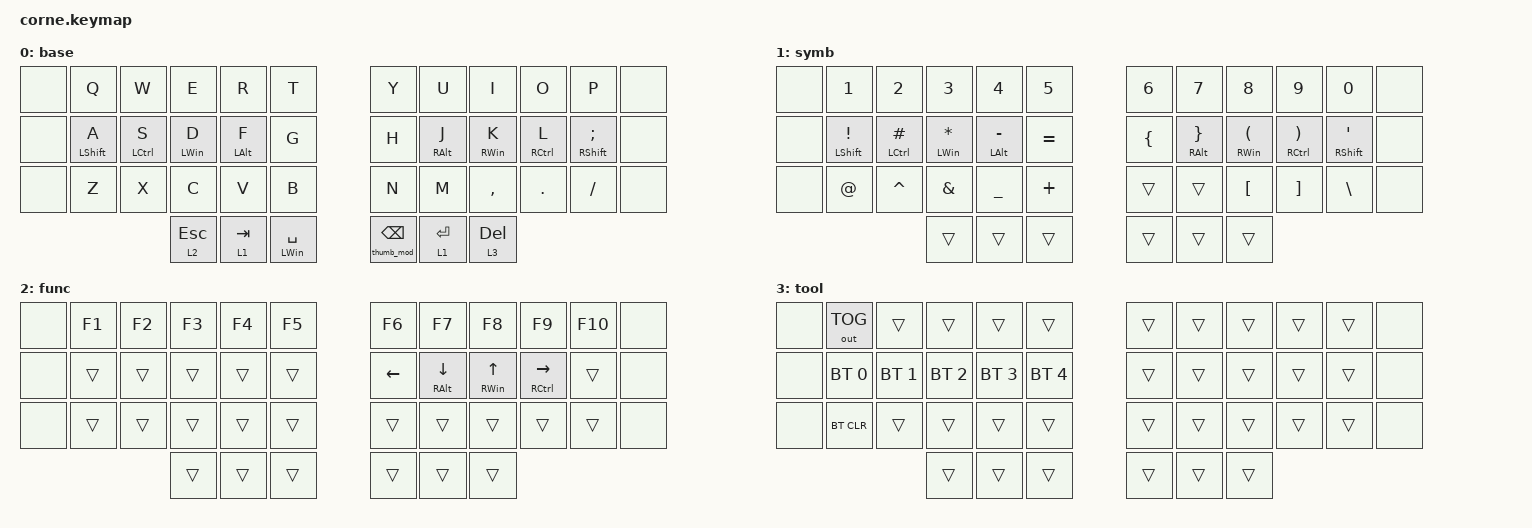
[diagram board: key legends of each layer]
/*
 * Copyright (c) 2020 The ZMK Contributors
 *
 * SPDX-License-Identifier: MIT
 */

#include <behaviors.dtsi>
#include <dt-bindings/zmk/bt.h>
#include <dt-bindings/zmk/keys.h>
#include <dt-bindings/zmk/keys.h>
#include <dt-bindings/zmk/outputs.h>

/ {
    combos {
        compatible = "zmk,combos";

        quick_lead {
            bindings = <&kp LC(SPACE)>;
            key-positions = <37 40>;
        };

        caps_lock {
            bindings = <&kt CAPSLOCK>;
            key-positions = <13 22>;
        };

        quick_esc {
            bindings = <&kp ESCAPE>;
            key-positions = <19 16>;
        };
    };

    behaviors {
        hrm: hrm {
            compatible = "zmk,behavior-hold-tap";
            label = "HRM";
            bindings = <&kp>, <&kp>;

            #binding-cells = <2>;
            tapping-term-ms = <175>;
            flavor = "tap-preferred";
            hold-trigger-key-positions = <0 1 2 3 4 5 6 7 8 9 10 11 12 13 14 15 16 17 18 19 20 21 22 23 24 25 26 27 28 29 30 31 32 33 34 35 36 37 38 39 40 41>;
            hold-trigger-on-release;
            quick-tap-ms = <135>;
            require-prior-idle-ms = <0>;
        };

        trm: trm {
            compatible = "zmk,behavior-hold-tap";
            label = "TRM";
            bindings = <&thumb_mod>, <&kp>;

            #binding-cells = <2>;
            tapping-term-ms = <150>;
            flavor = "tap-preferred";
            hold-trigger-key-positions = <0 1 2 3 4 5 6 7 8 9 10 11 12 13 14 15 16 17 18 19 20 21 22 23 24 25 26 27 28 29 30 31 32 33 34 35 36 37 38 39 40 41>;
            hold-trigger-on-release;
            quick-tap-ms = <150>;
            require-prior-idle-ms = <0>;
        };
    };

    macros {
        thumb_mod: tdm {
            compatible = "zmk,behavior-macro";
            #binding-cells = <0>;
            bindings =
                <&macro_press>,
                <&kp LEFT_WIN &mo 1>,
                <&macro_pause_for_release>,
                <&macro_release>,
                <&kp LEFT_WIN &mo 1>;

            label = "TDM";
        };
    };

    keymap {
        compatible = "zmk,keymap";

        base {
            // -----------------------------------------------------------------------------------------
            // |  TAB |  Q  |  W  |  E  |  R  |  T  |   |  Y  |  U   |  I  |  O  |  P  | BKSP |
            // | CTRL |  A  |  S  |  D  |  F  |  G  |   |  H  |  J   |  K  |  L  |  ;  |  '   |
            // | SHFT |  Z  |  X  |  C  |  V  |  B  |   |  N  |  M   |  ,  |  .  |  /  | ESC  |
            //                    | GUI | LWR | SPC |   | ENT | RSE  | ALT |

            bindings = <
&none  &kp Q              &kp W                &kp E            &kp R            &kp T                  &kp Y             &kp U             &kp I             &kp O                 &kp P                       &none
&none  &hrm LEFT_SHIFT A  &hrm LEFT_CONTROL S  &hrm LEFT_WIN D  &hrm LEFT_ALT F  &kp G                  &kp H             &hrm RIGHT_ALT J  &hrm RIGHT_WIN K  &hrm RIGHT_CONTROL L  &hrm RIGHT_SHIFT SEMICOLON  &none
&none  &kp Z              &kp X                &kp C            &kp V            &kp B                  &kp N             &kp M             &kp COMMA         &kp DOT               &kp FSLH                    &none
                                               &lt 2 ESCAPE     &lt 1 TAB        &hrm LEFT_WIN SPACE    &trm 0 BACKSPACE  &lt 1 ENTER       &lt 3 DELETE
            >;
        };

        symb {
            // -----------------------------------------------------------------------------------------
            // |  TAB |  1  |  2  |  3  |  4  |  5  |   |  6  |  7  |  8  |  9  |  0  | BKSP |
            // | BTCLR| BT1 | BT2 | BT3 | BT4 | BT5 |   | LFT | DWN |  UP | RGT |     |      |
            // | SHFT |     |     |     |     |     |   |     |     |     |     |     |      |
            //                    | GUI |     | SPC |   | ENT |     | ALT |

            bindings = <
&none  &kp NUMBER_1                 &kp N2                  &kp N3              &kp N4               &kp N5       &kp N6          &kp N7                      &kp N8                           &kp N9                                &kp N0                &none
&none  &hrm LEFT_SHIFT EXCLAMATION  &hrm LEFT_CONTROL HASH  &hrm LEFT_WIN STAR  &hrm LEFT_ALT MINUS  &kp EQUAL    &kp LEFT_BRACE  &hrm RIGHT_ALT RIGHT_BRACE  &hrm RIGHT_WIN LEFT_PARENTHESIS  &hrm RIGHT_CONTROL RIGHT_PARENTHESIS  &hrm RIGHT_SHIFT SQT  &none
&none  &kp AT_SIGN                  &kp CARET               &kp AMPS            &kp UNDER            &kp PLUS     &trans          &trans                      &kp LEFT_BRACKET                 &kp RIGHT_BRACKET                     &kp BACKSLASH         &none
                                                            &trans              &trans               &trans       &trans          &trans                      &trans
            >;
        };

        func {
            bindings = <
&none  &kp F1  &kp F2  &kp F3  &kp F4  &kp F5    &kp F6    &kp F7                     &kp F8                   &kp F9                          &kp F10  &none
&none  &trans  &trans  &trans  &trans  &trans    &kp LEFT  &hrm RIGHT_ALT DOWN_ARROW  &hrm RIGHT_WIN UP_ARROW  &hrm RIGHT_CONTROL RIGHT_ARROW  &trans   &none
&none  &trans  &trans  &trans  &trans  &trans    &trans    &trans                     &trans                   &trans                          &trans   &none
                       &trans  &trans  &trans    &trans    &trans                     &trans
            >;
        };

        tool {
            bindings = <
&none  &out OUT_TOG  &trans        &trans        &trans        &trans          &trans  &trans  &trans  &trans  &trans  &none
&none  &bt BT_SEL 0  &bt BT_SEL 1  &bt BT_SEL 2  &bt BT_SEL 3  &bt BT_SEL 4    &trans  &trans  &trans  &trans  &trans  &none
&none  &bt BT_CLR    &trans        &trans        &trans        &trans          &trans  &trans  &trans  &trans  &trans  &none
                                   &trans        &trans        &trans          &trans  &trans  &trans
            >;
        };
    };
};
